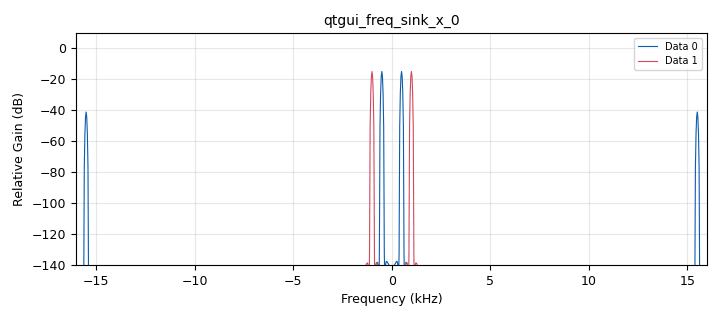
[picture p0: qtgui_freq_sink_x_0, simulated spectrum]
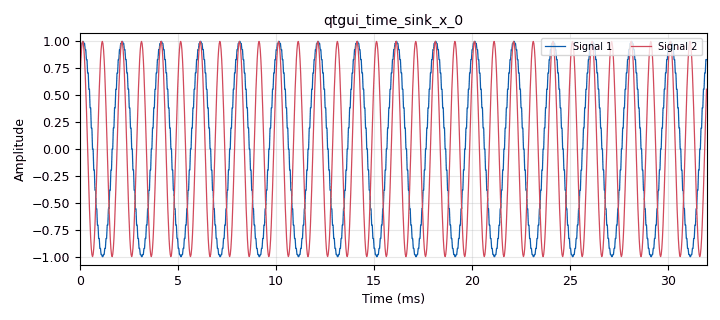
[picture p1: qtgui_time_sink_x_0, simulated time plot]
options:
  parameters:
    author: Ubaid Rehman
    generate_options: qt_gui
    id: repeater
    output_language: python
    title: Not titled yet
  states: {}

blocks:
- name: samp_rate
  id: variable
  parameters:
    value: '32000'
  states: {}
- name: analog_sig_source_x_0
  id: analog_sig_source_x
  parameters:
    amp: '1'
    freq: '1000'
    offset: '0'
    phase: '0'
    samp_rate: samp_rate
    type: float
    waveform: analog.GR_COS_WAVE
  states: {}
- name: blocks_repeat_0
  id: blocks_repeat
  parameters:
    interp: '2'
    type: float
  states: {}
- name: blocks_throttle2_0
  id: blocks_throttle2
  parameters:
    samples_per_second: samp_rate
    type: float
  states: {}
- name: qtgui_freq_sink_x_0
  id: qtgui_freq_sink_x
  parameters:
    bw: samp_rate
    fc: '0'
    fftsize: '1024'
    nconnections: '2'
    type: float
  states: {}
- name: qtgui_time_sink_x_0
  id: qtgui_time_sink_x
  parameters:
    nconnections: '2'
    size: '1024'
    srate: samp_rate
    type: float
  states: {}

connections:
- [analog_sig_source_x_0, '0', blocks_throttle2_0, '0']
- [blocks_repeat_0, '0', qtgui_freq_sink_x_0, '0']
- [blocks_repeat_0, '0', qtgui_time_sink_x_0, '0']
- [blocks_throttle2_0, '0', blocks_repeat_0, '0']
- [blocks_throttle2_0, '0', qtgui_freq_sink_x_0, '1']
- [blocks_throttle2_0, '0', qtgui_time_sink_x_0, '1']

metadata:
  file_format: 1
  grc_version: 3.10.9.2
